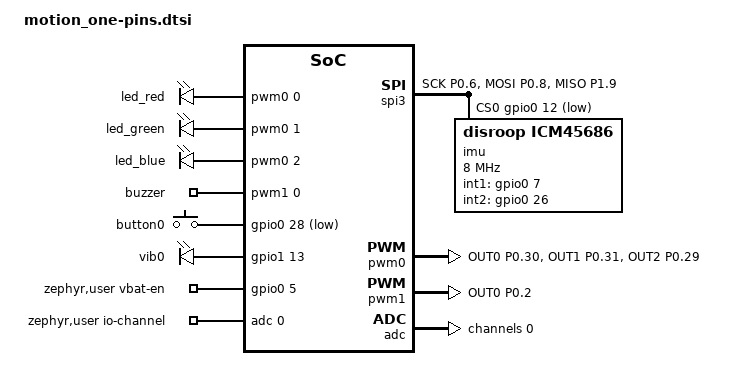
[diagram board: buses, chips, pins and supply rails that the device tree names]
/*
 * EINZIGE Datei mit Pinbelegung fuer Motion One V1.
 * QUELLE: devices/motion-one/electronics/PINOUT_V1.json (revision r1,
 *         sha256 d7a0aa60579c1be62daae7849d40fafb72273c56a2dbda6a3d136e81524374ae).
 * Jede Pinzeile traegt ein Tag "PINOUT:<signal>"; firmware/scripts/check_pinout.py
 * gleicht Tag, Port/Pin und Polaritaet gegen PINOUT_V1.json ab (make pincheck).
 * Nicht als GPIO genutzt: XL1/XL2 (32k-Quarz, lfclk), NRESET P0.18 (uicr gpio-as-nreset),
 * VBUS/USB D+/D- (USBD), SWDIO/SWCLK. Kein UART-Pin herausgefuehrt -> uart0 aus.
 */

&pinctrl {
	spi3_default: spi3_default {
		group1 {
			psels = <NRF_PSEL(SPIM_SCK, 0, 6)>,  /* PINOUT:IMU_SCK */
				<NRF_PSEL(SPIM_MOSI, 0, 8)>, /* PINOUT:IMU_MOSI */
				<NRF_PSEL(SPIM_MISO, 1, 9)>; /* PINOUT:IMU_MISO */
		};
	};
	spi3_sleep: spi3_sleep {
		group1 {
			psels = <NRF_PSEL(SPIM_SCK, 0, 6)>, <NRF_PSEL(SPIM_MOSI, 0, 8)>,
				<NRF_PSEL(SPIM_MISO, 1, 9)>;
			low-power-enable;
		};
	};
	/* LEDs Common-Anode an 3V3, aktiv low: nordic,invert -> Ruhepegel high (aus) */
	pwm0_default: pwm0_default {
		group1 {
			psels = <NRF_PSEL(PWM_OUT0, 0, 30)>, /* PINOUT:LED_R */
				<NRF_PSEL(PWM_OUT1, 0, 31)>, /* PINOUT:LED_G */
				<NRF_PSEL(PWM_OUT2, 0, 29)>; /* PINOUT:LED_B */
			nordic,invert;
		};
	};
	pwm0_sleep: pwm0_sleep {
		group1 {
			psels = <NRF_PSEL(PWM_OUT0, 0, 30)>, <NRF_PSEL(PWM_OUT1, 0, 31)>,
				<NRF_PSEL(PWM_OUT2, 0, 29)>;
			low-power-enable;
		};
	};
	pwm1_default: pwm1_default {
		group1 {
			psels = <NRF_PSEL(PWM_OUT0, 0, 2)>; /* PINOUT:BUZ_PWM */
		};
	};
	pwm1_sleep: pwm1_sleep {
		group1 {
			psels = <NRF_PSEL(PWM_OUT0, 0, 2)>;
			low-power-enable;
		};
	};
};

&spi3 {
	compatible = "nordic,nrf-spim";
	status = "okay";
	pinctrl-0 = <&spi3_default>;
	pinctrl-1 = <&spi3_sleep>;
	pinctrl-names = "default", "sleep";
	cs-gpios = <&gpio0 12 GPIO_ACTIVE_LOW>; /* PINOUT:IMU_CS (Boot: sofort high, app/src/board_early.c) */

	imu: icm45686@0 {
		compatible = "disroop,icm45686";
		reg = <0>;
		spi-max-frequency = <8000000>; /* PCB-Hinweis: 8 MHz (ICM max. 24 MHz, QUELLE hal_tdk) */
		int1-gpios = <&gpio0 7 GPIO_ACTIVE_HIGH>; /* PINOUT:IMU_INT1 push-pull */
		int2-gpios = <&gpio0 26 GPIO_ACTIVE_HIGH>; /* PINOUT:IMU_INT2 push-pull, derzeit ungenutzt */
	};
};

&pwm0 {
	status = "okay";
	pinctrl-0 = <&pwm0_default>;
	pinctrl-1 = <&pwm0_sleep>;
	pinctrl-names = "default", "sleep";
};

&pwm1 {
	status = "okay";
	pinctrl-0 = <&pwm1_default>;
	pinctrl-1 = <&pwm1_sleep>;
	pinctrl-names = "default", "sleep";
};

&uart0 {
	status = "disabled";
};

&adc {
	status = "okay";
	#address-cells = <1>;
	#size-cells = <0>;

	channel@0 {
		reg = <0>;
		zephyr,gain = "ADC_GAIN_1_6";
		zephyr,reference = "ADC_REF_INTERNAL";
		/* Quelle 100k||100k = 50 kOhm -> 40 us (Nordic-Tabelle: 40 us bis 800 kOhm) */
		zephyr,acquisition-time = <ADC_ACQ_TIME(ADC_ACQ_TIME_MICROSECONDS, 40)>;
		zephyr,input-positive = <NRF_SAADC_AIN2>; /* PINOUT:VBAT_ADC */
		zephyr,resolution = <12>;
		zephyr,oversampling = <4>;
	};
};

/ {
	pwmleds {
		compatible = "pwm-leds";
		led_red: led_red {
			pwms = <&pwm0 0 PWM_MSEC(1) PWM_POLARITY_INVERTED>; /* aktiv low */
		};
		led_green: led_green {
			pwms = <&pwm0 1 PWM_MSEC(1) PWM_POLARITY_INVERTED>; /* aktiv low */
		};
		led_blue: led_blue {
			pwms = <&pwm0 2 PWM_MSEC(1) PWM_POLARITY_INVERTED>; /* aktiv low */
		};
		buzzer: buzzer {
			pwms = <&pwm1 0 PWM_USEC(2273) PWM_POLARITY_NORMAL>; /* FET-Gate, high = an */
		};
	};

	buttons {
		compatible = "gpio-keys";
		button0: button_0 {
			gpios = <&gpio0 28 (GPIO_PULL_UP | GPIO_ACTIVE_LOW)>; /* PINOUT:BTN */
			zephyr,code = <INPUT_KEY_0>;
		};
	};

	vibration {
		compatible = "gpio-leds";
		vib0: vib_0 {
			gpios = <&gpio1 13 GPIO_ACTIVE_HIGH>; /* PINOUT:MOT_EN */
		};
	};

	zephyr,user {
		io-channels = <&adc 0>;
		vbat-en-gpios = <&gpio0 5 GPIO_ACTIVE_HIGH>; /* PINOUT:VBAT_EN */
		/* QUELLE PINOUT_V1 notes: VBAT_ADC = VBAT * 100k/(100k+100k) -> Faktor 2 */
		vbat-divider-num = <2>;
		vbat-divider-den = <1>;
	};

	aliases {
		led-red = &led_red;
		led-green = &led_green;
		led-blue = &led_blue;
		buzzer = &buzzer;
		sw0 = &button0;
		vib0 = &vib0;
		imu0 = &imu;
	};
};
